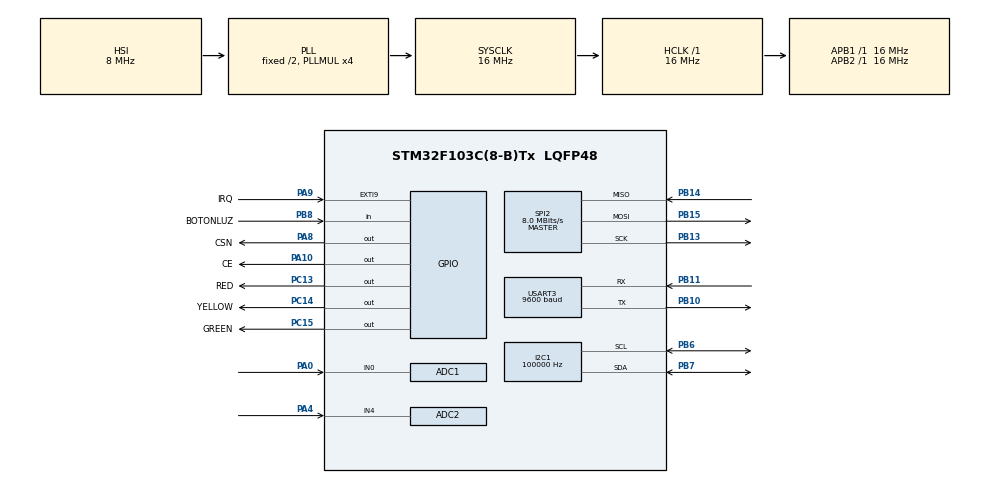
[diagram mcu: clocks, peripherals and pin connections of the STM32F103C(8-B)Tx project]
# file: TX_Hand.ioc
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ADC1.Channel-2\#ChannelRegularConversion=ADC_CHANNEL_0
ADC1.Channel-IN0=ADC_CHANNEL_0
ADC1.ContinuousConvMode=ENABLE
ADC1.DataAlign=ADC_DATAALIGN_RIGHT
ADC1.DiscontinuousConvMode=DISABLE
ADC1.EnableAnalogWatchDog=false
ADC1.EnableInjectedConversion=DISABLE
ADC1.EnableRegularConversion=ENABLE
ADC1.ExternalTrigConv=ADC_SOFTWARE_START
ADC1.Mode=ADC_DUALMODE_REGSIMULT
ADC1.NbrOfConversion=1
ADC1.Rank-2\#ChannelRegularConversion=1
ADC1.SamplingTime-2\#ChannelRegularConversion=ADC_SAMPLETIME_1CYCLE_5
ADC1.ScanConvMode=ADC_SCAN_DISABLE
ADC1.master=1
ADC2.Channel-4\#ChannelRegularConversion=ADC_CHANNEL_4
ADC2.Channel-IN4=ADC_CHANNEL_4
ADC2.ContinuousConvMode=ENABLE
ADC2.DataAlign=ADC_DATAALIGN_RIGHT
ADC2.DiscontinuousConvMode=DISABLE
ADC2.EnableAnalogWatchDog=false
ADC2.EnableInjectedConversion=DISABLE
ADC2.EnableRegularConversion=ENABLE
ADC2.Mode=ADC_DUALMODE_REGSIMULT
ADC2.NbrOfConversion=1
ADC2.Rank-4\#ChannelRegularConversion=1
ADC2.SamplingTime-4\#ChannelRegularConversion=ADC_SAMPLETIME_1CYCLE_5
ADC2.ScanConvMode=ADC_SCAN_DISABLE
I2C1.AddressingMode=I2C_ADDRESSINGMODE_7BIT
I2C1.ClockSpeed=100000
I2C1.DualAddressMode=I2C_DUALADDRESS_DISABLE
I2C1.GeneralCallMode=I2C_GENERALCALL_DISABLE
I2C1.I2C_Mode=I2C_Standard
I2C1.NoStretchMode=I2C_NOSTRETCH_DISABLE
I2C1.OwnAddress=0
Mcu.Family=STM32F1
Mcu.Name=STM32F103C(8-B)Tx
Mcu.Package=LQFP48
NVIC.PriorityGroup=NVIC_PRIORITYGROUP_4
NVIC.SPI2_IRQn=true\:0\:0\:false\:false\:true\:true\:true\:true
PA0-WKUP.Signal=ADCx_IN0
PA10.GPIO_Label=CE
PA10.GPIO_Speed=GPIO_SPEED_FREQ_HIGH
PA10.Signal=GPIO_Output
PA13.Mode=Serial_Wire
PA13.Signal=SYS_JTMS-SWDIO
PA14.Mode=Serial_Wire
PA14.Signal=SYS_JTCK-SWCLK
PA4.Signal=ADCx_IN4
PA8.GPIO_Label=CSN
PA8.GPIO_Speed=GPIO_SPEED_FREQ_HIGH
PA8.Signal=GPIO_Output
PA9.GPIO_Label=IRQ
PA9.GPIO_ModeDefaultEXTI=GPIO_MODE_IT_FALLING
PA9.Signal=GPXTI9
PB10.Mode=Asynchronous
PB10.Signal=USART3_TX
PB11.Mode=Asynchronous
PB11.Signal=USART3_RX
PB13.Mode=Full_Duplex_Master
PB13.Signal=SPI2_SCK
PB14.Mode=Full_Duplex_Master
PB14.Signal=SPI2_MISO
PB15.Mode=Full_Duplex_Master
PB15.Signal=SPI2_MOSI
PB6.Mode=I2C
PB6.Signal=I2C1_SCL
PB7.Mode=I2C
PB7.Signal=I2C1_SDA
PB8.GPIO_Label=BOTONLUZ
PB8.GPIO_PuPd=GPIO_PULLDOWN
PB8.Signal=GPIO_Input
PC13-TAMPER-RTC.GPIO_Label=RED
PC13-TAMPER-RTC.Signal=GPIO_Output
PC14-OSC32_IN.GPIO_Label=YELLOW
PC14-OSC32_IN.Signal=GPIO_Output
PC15-OSC32_OUT.GPIO_Label=GREEN
PC15-OSC32_OUT.Signal=GPIO_Output
ProjectManager.HeapSize=0x200
ProjectManager.StackSize=0x400
ProjectManager.TargetToolchain=CMake
RCC.AHBFreq_Value=16000000
RCC.APB1Freq_Value=16000000
RCC.APB1TimFreq_Value=16000000
RCC.APB2Freq_Value=16000000
RCC.APB2TimFreq_Value=16000000
RCC.HCLKFreq_Value=16000000
RCC.PLLMUL=RCC_PLL_MUL4
RCC.SYSCLKFreq_VALUE=16000000
RCC.SYSCLKSource=RCC_SYSCLKSOURCE_PLLCLK
RCC.USBFreq_Value=16000000
SH.ADCx_IN0.0=ADC1_IN0,IN0
SH.ADCx_IN4.0=ADC2_IN4,IN4
SPI2.BaudRatePrescaler=SPI_BAUDRATEPRESCALER_2
SPI2.CLKPhase=SPI_PHASE_1EDGE
SPI2.CLKPolarity=SPI_POLARITY_LOW
SPI2.CRCCalculation=SPI_CRCCALCULATION_DISABLE
SPI2.CalculateBaudRate=8.0 MBits/s
SPI2.DataSize=SPI_DATASIZE_8BIT
SPI2.Direction=SPI_DIRECTION_2LINES
SPI2.FirstBit=SPI_FIRSTBIT_MSB
SPI2.Mode=SPI_MODE_MASTER
SPI2.NSS=SPI_NSS_SOFT
SPI2.TIMode=SPI_TIMODE_DISABLE
SPI2.VirtualType=VM_MASTER
USART3.BaudRate=9600
USART3.Mode=MODE_TX_RX
USART3.Parity=PARITY_NONE
USART3.StopBits=STOPBITS_1
USART3.VirtualMode=VM_ASYNC
USART3.WordLength=WORDLENGTH_8B
board=custom

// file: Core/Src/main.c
/* USER CODE BEGIN Header */
/*
------- Kevin Lara  -------
--------- Auf Das --------
-------- Roberto --------
----------- Car  -----------
-------- 27/12/2025 --------
*/
/*

A8  CSN
A9  CE
A10 IRQ

B8  SW LIGHT
B7  SW Back
B6  SW Fw

PA0 ADC SPEED
PA4 ADC BATTERY
b10 USART TX
b11 USART RX

PC13 REDBAT
PC14 YELLOW BAT
PC15 GREEN BAT
*/
// ------- Main Library -------
/* USER CODE END Header */
#include "main.h"

#include "NRF24.h"
#include "NRF24_reg_addresses.h"
#include "mpu6050.h"

#include <stdio.h>
#include <math.h>

/* USER CODE BEGIN Includes */

typedef struct {
    uint8_t cmd;
    uint8_t speed;
    float angle;
} RF_Data;

/* USER CODE END Includes */

/* USER CODE BEGIN PD */
#define PLD_SIZE sizeof(RF_Data)
#define INITIAL_CMD 0x27
/* USER CODE END PD */

ADC_HandleTypeDef hadc1;
ADC_HandleTypeDef hadc2;

I2C_HandleTypeDef hi2c1;

SPI_HandleTypeDef hspi2;

UART_HandleTypeDef huart3;

/* USER CODE BEGIN PV */
RF_Data txData;
uint8_t dataTx[sizeof(RF_Data)];
uint8_t addrTx[5]="juan1";
uint16_t var = 0x00;
uint8_t speed = 50;
uint16_t batery_val;
uint16_t adc_val;
uint32_t adc32;
float ax, ay, az, gx, gy, gz, t;
float ay_ofst;
char buf_lcd[12];

float roll_rad = 0.0f, roll_deg = 0.0f;
float deg_offset =0.0f, pwm_val=0.0f, operation =0.0f;

uint8_t cmd = INITIAL_CMD;
#define PI 3.14159265

/* USER CODE END PV */

void SystemClock_Config(void);
static void MX_GPIO_Init(void);
static void MX_SPI2_Init(void);
static void MX_ADC1_Init(void);
static void MX_I2C1_Init(void);
static void MX_ADC2_Init(void);
static void MX_USART3_UART_Init(void);

int main(void)
{

  /* MCU Configuration--------------------------------------------------------*/

  /* Reset of all peripherals, Initializes the Flash interface and the Systick. */
  HAL_Init();

  /* Configure the system clock */
  SystemClock_Config();

  /* Initialize all configured peripherals */
  MX_GPIO_Init();
  MX_SPI2_Init();
  MX_ADC1_Init();
  MX_I2C1_Init();
  MX_ADC2_Init();
  MX_USART3_UART_Init();
  /* USER CODE BEGIN 2 */
  MPU6050_Init();
  csn_high();
  nrf24_init();
  nrf24_tx_pwr(_0dbm );
  nrf24_data_rate(_2mbps);
  nrf24_set_crc(en_crc,_1byte);
  nrf24_set_channel(100);
  nrf24_pipe_pld_size(0,PLD_SIZE);
  nrf24_open_tx_pipe(addrTx);
  //nrf24_open_rx_pipe(0,addrTx);
  nrf24_stop_listen();
  float deg_gx, deg_gy, deg_gz;

  /* USER CODE END 2 */

  /* Infinite loop */
  while (1)
  {

    /* USER CODE BEGIN 3 */
	  HAL_ADC_Start(&hadc2);
	  HAL_ADC_Start(&hadc1);

	  if(MPU6050_Read_Data() > 0)
		{
			ax = MPU6050_Get_Ax();
			ay = MPU6050_Get_Ay();
			az = MPU6050_Get_Az();
//			gx = MPU6050_Get_Gx();gy = MPU6050_Get_Gy();gz = MPU6050_Get_Gz();t = MPU6050_Get_Temperature();

    /* Angle
      float denominator = sqrt(ax * ax + az * az);
      roll_rad = atan2(ay, denominator); // arctan(ay/ \sqrt[ax^2+az^2] )
      roll_deg = roll_rad * (180.0f / PI);
      deg_offset = roll_deg+90; // avoid handling negative values on pwm
      pwm_val = 340-(deg_offset*(2.0/3.0)); // 340 - deg*120/180
    */
    /*
    for 45 deg = 220
    for 135 deg = 340
    */
    if (ay < 0.20 && ay > -0.20) ay = 0.0f;
    ay_ofst=ay+1; // offset from 0 to 2
    pwm_val = 340 - (ay_ofst * (120.0 / 2.0)); // map 0-2 to 340-220
/*
      CMD
      4    3  2   1   0
      LED  FW BW  ST  RSV
*/
    if (HAL_GPIO_ReadPin(GPIOB, BOTONLUZ_Pin) == GPIO_PIN_SET)
                        cmd = 0x10 | (cmd & 0x0F); // LED ON
    else
                        cmd = 0x00 | (cmd & 0x0F); // LED OFF
    if (ax <= -0.8)     cmd = 0x01 | (cmd & 0xF0); //Backwards
    else if (ax >= 0.8) cmd = 0x04 | (cmd & 0xF0);// Front
    else                cmd = 0x02 | (cmd & 0xF0); // Stop

    HAL_Delay(200);
		}

	  adc32 = HAL_ADCEx_MultiModeGetValue(&hadc1);
	  var = (uint16_t)(adc32 & 0x0000ffff);
	  adc_val=(uint16_t)((adc32 & 0xffff0000)>>16);
    speed = (var * 101)>>12; // /4095 >>12
    txData.cmd = cmd;
    txData.angle = pwm_val;
    txData.speed = speed;

    nrf24_transmit((uint8_t*)&txData, sizeof(txData));

  /*Battery*/
         batery_val = (adc_val*100)>>12;
         if(batery_val<=33){
         HAL_GPIO_WritePin(GPIOC,RED_Pin,GPIO_PIN_SET);
         HAL_GPIO_WritePin(GPIOC,GREEN_Pin,GPIO_PIN_RESET);}
         else if(batery_val>33 && batery_val<=66){
         HAL_GPIO_WritePin(GPIOC,YELLOW_Pin,GPIO_PIN_SET);
         HAL_GPIO_WritePin(GPIOC,RED_Pin,GPIO_PIN_RESET);}
         else {
         HAL_GPIO_WritePin(GPIOC,GREEN_Pin,GPIO_PIN_SET);
         HAL_GPIO_WritePin(GPIOC,YELLOW_Pin,GPIO_PIN_RESET);}

    /*UART*/

         	 char uart_buf[100];
               int len = snprintf(uart_buf, sizeof(uart_buf), "bat=%d cmd=%d speed=%d angle=%.2f\r\n", batery_val, txData.cmd,txData.speed , txData.angle);
               HAL_UART_Transmit(&huart3, (uint8_t*)uart_buf, len, HAL_MAX_DELAY);
               HAL_Delay(100);
    HAL_Delay(15);
  }
  /* USER CODE END 3 */
}

void SystemClock_Config(void)
{
  RCC_OscInitTypeDef RCC_OscInitStruct = {0};
  RCC_ClkInitTypeDef RCC_ClkInitStruct = {0};
  RCC_PeriphCLKInitTypeDef PeriphClkInit = {0};

  /** Initializes the RCC Oscillators according to the specified parameters
  * in the RCC_OscInitTypeDef structure.
  */
  RCC_OscInitStruct.OscillatorType = RCC_OSCILLATORTYPE_HSI;
  RCC_OscInitStruct.HSIState = RCC_HSI_ON;
  RCC_OscInitStruct.HSICalibrationValue = RCC_HSICALIBRATION_DEFAULT;
  RCC_OscInitStruct.PLL.PLLState = RCC_PLL_ON;
  RCC_OscInitStruct.PLL.PLLSource = RCC_PLLSOURCE_HSI_DIV2;
  RCC_OscInitStruct.PLL.PLLMUL = RCC_PLL_MUL4;
  if (HAL_RCC_OscConfig(&RCC_OscInitStruct) != HAL_OK)
  {
    Error_Handler();
  }

  /** Initializes the CPU, AHB and APB buses clocks
  */
  RCC_ClkInitStruct.ClockType = RCC_CLOCKTYPE_HCLK|RCC_CLOCKTYPE_SYSCLK
                              |RCC_CLOCKTYPE_PCLK1|RCC_CLOCKTYPE_PCLK2;
  RCC_ClkInitStruct.SYSCLKSource = RCC_SYSCLKSOURCE_PLLCLK;
  RCC_ClkInitStruct.AHBCLKDivider = RCC_SYSCLK_DIV1;
  RCC_ClkInitStruct.APB1CLKDivider = RCC_HCLK_DIV1;
  RCC_ClkInitStruct.APB2CLKDivider = RCC_HCLK_DIV1;

  if (HAL_RCC_ClockConfig(&RCC_ClkInitStruct, FLASH_LATENCY_0) != HAL_OK)
  {
    Error_Handler();
  }
  PeriphClkInit.PeriphClockSelection = RCC_PERIPHCLK_ADC;
  PeriphClkInit.AdcClockSelection = RCC_ADCPCLK2_DIV2;
  if (HAL_RCCEx_PeriphCLKConfig(&PeriphClkInit) != HAL_OK)
  {
    Error_Handler();
  }
}

static void MX_ADC1_Init(void)
{

  ADC_MultiModeTypeDef multimode = {0};
  ADC_ChannelConfTypeDef sConfig = {0};

  /** Common config
  */
  hadc1.Instance = ADC1;
  hadc1.Init.ScanConvMode = ADC_SCAN_DISABLE;
  hadc1.Init.ContinuousConvMode = ENABLE;
  hadc1.Init.DiscontinuousConvMode = DISABLE;
  hadc1.Init.ExternalTrigConv = ADC_SOFTWARE_START;
  hadc1.Init.DataAlign = ADC_DATAALIGN_RIGHT;
  hadc1.Init.NbrOfConversion = 1;
  if (HAL_ADC_Init(&hadc1) != HAL_OK)
  {
    Error_Handler();
  }

  /** Configure the ADC multi-mode
  */
  multimode.Mode = ADC_DUALMODE_REGSIMULT;
  if (HAL_ADCEx_MultiModeConfigChannel(&hadc1, &multimode) != HAL_OK)
  {
    Error_Handler();
  }

  /** Configure Regular Channel
  */
  sConfig.Channel = ADC_CHANNEL_0;
  sConfig.Rank = ADC_REGULAR_RANK_1;
  sConfig.SamplingTime = ADC_SAMPLETIME_1CYCLE_5;
  if (HAL_ADC_ConfigChannel(&hadc1, &sConfig) != HAL_OK)
  {
    Error_Handler();
  }

}

static void MX_ADC2_Init(void)
{

  ADC_ChannelConfTypeDef sConfig = {0};

  /** Common config
  */
  hadc2.Instance = ADC2;
  hadc2.Init.ScanConvMode = ADC_SCAN_DISABLE;
  hadc2.Init.ContinuousConvMode = ENABLE;
  hadc2.Init.DiscontinuousConvMode = DISABLE;
  hadc2.Init.ExternalTrigConv = ADC_SOFTWARE_START;
  hadc2.Init.DataAlign = ADC_DATAALIGN_RIGHT;
  hadc2.Init.NbrOfConversion = 1;
  if (HAL_ADC_Init(&hadc2) != HAL_OK)
  {
    Error_Handler();
  }

  /** Configure Regular Channel
  */
  sConfig.Channel = ADC_CHANNEL_4;
  sConfig.Rank = ADC_REGULAR_RANK_1;
  sConfig.SamplingTime = ADC_SAMPLETIME_1CYCLE_5;
  if (HAL_ADC_ConfigChannel(&hadc2, &sConfig) != HAL_OK)
  {
    Error_Handler();
  }

}

static void MX_I2C1_Init(void)
{

  hi2c1.Instance = I2C1;
  hi2c1.Init.ClockSpeed = 100000;
  hi2c1.Init.DutyCycle = I2C_DUTYCYCLE_2;
  hi2c1.Init.OwnAddress1 = 0;
  hi2c1.Init.AddressingMode = I2C_ADDRESSINGMODE_7BIT;
  hi2c1.Init.DualAddressMode = I2C_DUALADDRESS_DISABLE;
  hi2c1.Init.OwnAddress2 = 0;
  hi2c1.Init.GeneralCallMode = I2C_GENERALCALL_DISABLE;
  hi2c1.Init.NoStretchMode = I2C_NOSTRETCH_DISABLE;
  if (HAL_I2C_Init(&hi2c1) != HAL_OK)
  {
    Error_Handler();
  }

}

static void MX_SPI2_Init(void)
{

  /* SPI2 parameter configuration*/
  hspi2.Instance = SPI2;
  hspi2.Init.Mode = SPI_MODE_MASTER;
  hspi2.Init.Direction = SPI_DIRECTION_2LINES;
  hspi2.Init.DataSize = SPI_DATASIZE_8BIT;
  hspi2.Init.CLKPolarity = SPI_POLARITY_LOW;
  hspi2.Init.CLKPhase = SPI_PHASE_1EDGE;
  hspi2.Init.NSS = SPI_NSS_SOFT;
  hspi2.Init.BaudRatePrescaler = SPI_BAUDRATEPRESCALER_2;
  hspi2.Init.FirstBit = SPI_FIRSTBIT_MSB;
  hspi2.Init.TIMode = SPI_TIMODE_DISABLE;
  hspi2.Init.CRCCalculation = SPI_CRCCALCULATION_DISABLE;
  hspi2.Init.CRCPolynomial = 10;
  if (HAL_SPI_Init(&hspi2) != HAL_OK)
  {
    Error_Handler();
  }

}

static void MX_USART3_UART_Init(void)
{

  huart3.Instance = USART3;
  huart3.Init.BaudRate = 9600;
  huart3.Init.WordLength = UART_WORDLENGTH_8B;
  huart3.Init.StopBits = UART_STOPBITS_1;
  huart3.Init.Parity = UART_PARITY_NONE;
  huart3.Init.Mode = UART_MODE_TX_RX;
  huart3.Init.HwFlowCtl = UART_HWCONTROL_NONE;
  huart3.Init.OverSampling = UART_OVERSAMPLING_16;
  if (HAL_UART_Init(&huart3) != HAL_OK)
  {
    Error_Handler();
  }

}

static void MX_GPIO_Init(void)
{
  GPIO_InitTypeDef GPIO_InitStruct = {0};

  /* GPIO Ports Clock Enable */
  __HAL_RCC_GPIOC_CLK_ENABLE();
  __HAL_RCC_GPIOA_CLK_ENABLE();
  __HAL_RCC_GPIOB_CLK_ENABLE();

  /*Configure GPIO pin Output Level */
  HAL_GPIO_WritePin(GPIOC, RED_Pin|YELLOW_Pin|GREEN_Pin, GPIO_PIN_RESET);

  /*Configure GPIO pin Output Level */
  HAL_GPIO_WritePin(GPIOA, CSN_Pin|CE_Pin, GPIO_PIN_RESET);

  /*Configure GPIO pins : RED_Pin YELLOW_Pin GREEN_Pin */
  GPIO_InitStruct.Pin = RED_Pin|YELLOW_Pin|GREEN_Pin;
  GPIO_InitStruct.Mode = GPIO_MODE_OUTPUT_PP;
  GPIO_InitStruct.Pull = GPIO_NOPULL;
  GPIO_InitStruct.Speed = GPIO_SPEED_FREQ_LOW;
  HAL_GPIO_Init(GPIOC, &GPIO_InitStruct);

  /*Configure GPIO pins : CSN_Pin CE_Pin */
  GPIO_InitStruct.Pin = CSN_Pin|CE_Pin;
  GPIO_InitStruct.Mode = GPIO_MODE_OUTPUT_PP;
  GPIO_InitStruct.Pull = GPIO_NOPULL;
  GPIO_InitStruct.Speed = GPIO_SPEED_FREQ_HIGH;
  HAL_GPIO_Init(GPIOA, &GPIO_InitStruct);

  /*Configure GPIO pin : IRQ_Pin */
  GPIO_InitStruct.Pin = IRQ_Pin;
  GPIO_InitStruct.Mode = GPIO_MODE_IT_FALLING;
  GPIO_InitStruct.Pull = GPIO_NOPULL;
  HAL_GPIO_Init(IRQ_GPIO_Port, &GPIO_InitStruct);

  /*Configure GPIO pin : BOTONLUZ_Pin */
  GPIO_InitStruct.Pin = BOTONLUZ_Pin;
  GPIO_InitStruct.Mode = GPIO_MODE_INPUT;
  GPIO_InitStruct.Pull = GPIO_PULLDOWN;
  HAL_GPIO_Init(BOTONLUZ_GPIO_Port, &GPIO_InitStruct);

}

void Error_Handler(void)
{
  __disable_irq();
  while (1)
  {
  }
}
